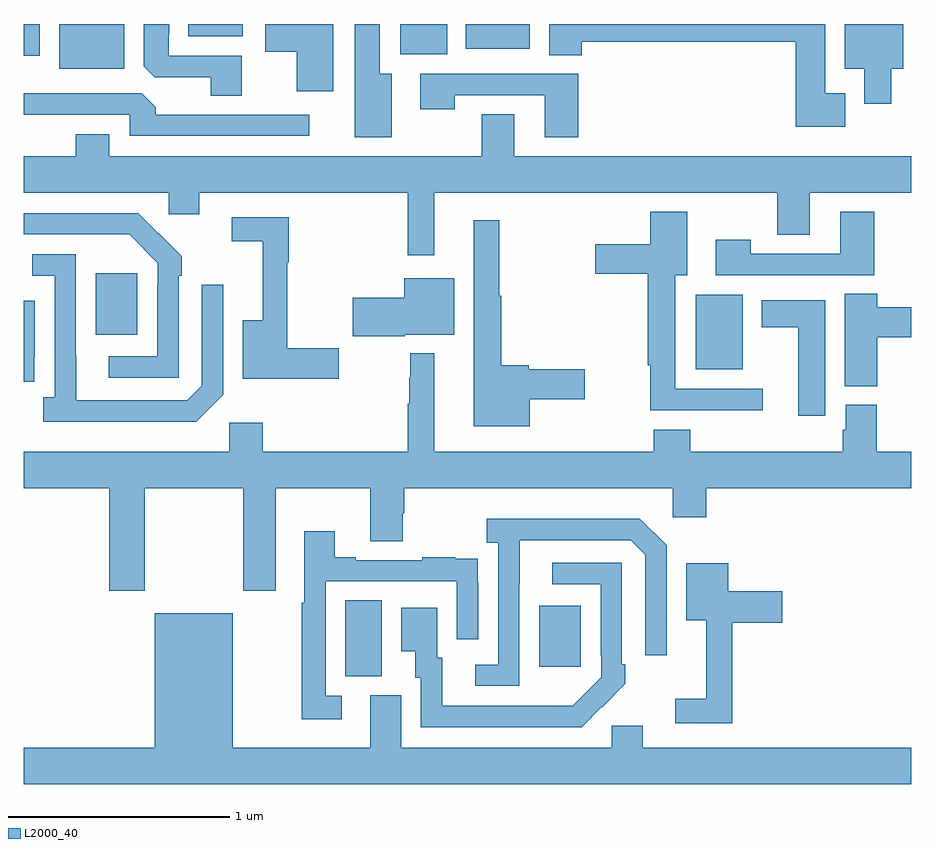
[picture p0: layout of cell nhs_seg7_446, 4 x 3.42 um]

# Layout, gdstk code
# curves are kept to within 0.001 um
import gdstk
lib = gdstk.Library(unit=1e-6, precision=1e-09)
def R(c, l, rs):  # rectangles x0, y0, x1, y1
    for r in rs: c.add(gdstk.rectangle(r[:2], r[2:], *l))
def P(c, l, *ps):  # polygons
    for p in ps: c.add(gdstk.Polygon(p, *l))
L2000_40 = (2000, 40)

nhs_seg7_446 = lib.new_cell('nhs_seg7_446')
R(nhs_seg7_446, L2000_40, [(146.45,1041.061,146.614,1041.404), (147.323,1041.105,147.511,1041.379), (148.028,1042.445,148.24,1042.78), (145.325,1042.601,145.513,1042.876), (145.16,1043.798,145.453,1044), (145,1043.856,145.072,1044), (146.696,1043.864,146.908,1044), (146.993,1043.888,147.28,1044), (145.742,1043.945,145.987,1044)])
P(nhs_seg7_446, L2000_40, [(148.702,1043.689),(148.612,1043.689),(148.612,1044),(147.368,1044),(147.368,1043.86),(147.515,1043.86),(147.515,1043.92),(148.478,1043.92),(148.478,1043.537),(148.702,1043.537)],
  [(146.659,1043.776),(146.605,1043.776),(146.605,1044),(146.492,1044),(146.492,1043.49),(146.659,1043.49)],
  [(146.395,1044),(146.088,1044),(146.088,1043.876),(146.231,1043.876),(146.231,1043.697),(146.395,1043.697)],
  [(145.984,1043.856),(145.653,1043.856),(145.653,1043.953),(145.657,1043.953),(145.657,1044),(145.541,1044),(145.541,1043.809),(145.59,1043.76),(145.844,1043.76),(145.844,1043.677),(145.984,1043.677)],
  [(148.909,1043.798),(148.963,1043.798),(148.963,1044),(148.7,1044),(148.7,1043.798),(148.787,1043.798),(148.787,1043.64),(148.909,1043.64)],
  [(147.5,1043.775),(146.787,1043.775),(146.787,1043.616),(146.943,1043.616),(146.943,1043.679),(147.347,1043.679),(147.347,1043.49),(147.5,1043.49)],
  [(146.287,1043.592),(145.595,1043.592),(145.595,1043.626),(145.533,1043.688),(145,1043.688),(145,1043.592),(145.479,1043.592),(145.479,1043.496),(146.287,1043.496)],
  [(146.851,1043.24),(148.396,1043.24),(148.396,1043.05),(148.543,1043.05),(148.543,1043.24),(149,1043.24),(149,1043.404),(147.211,1043.404),(147.211,1043.594),(147.064,1043.594),(147.064,1043.404),(145.387,1043.404),(145.387,1043.503),(145.235,1043.503),(145.235,1043.404),(145,1043.404),(145,1043.24),(145.653,1043.24),(145.653,1043.142),(145.792,1043.142),(145.792,1043.24),(146.73,1043.24),(146.73,1042.959),(146.851,1042.959)],
  [(148.832,1043.155),(148.679,1043.155),(148.679,1042.965),(148.275,1042.965),(148.275,1043.029),(148.119,1043.029),(148.119,1042.869),(148.832,1042.869)],
  [(148.33,1042.356),(147.937,1042.356),(147.937,1042.868),(147.991,1042.868),(147.991,1043.155),(147.824,1043.155),(147.824,1043.008),(147.576,1043.008),(147.576,1042.874),(147.812,1042.874),(147.812,1042.463),(147.824,1042.463),(147.824,1042.259),(148.33,1042.259)],
  [(145.698,1042.865),(145.713,1042.865),(145.713,1042.953),(145.516,1043.148),(145,1043.148),(145,1043.052),(145.477,1043.052),(145.605,1042.923),(145.605,1042.823),(145.602,1042.823),(145.602,1042.503),(145.383,1042.503),(145.383,1042.407),(145.698,1042.407)],
  [(146.419,1042.539),(146.188,1042.539),(146.188,1042.927),(146.195,1042.927),(146.195,1043.13),(145.938,1043.13),(145.938,1043.022),(146.078,1043.022),(146.078,1042.666),(145.988,1042.666),(145.988,1042.402),(146.419,1042.402)],
  [(147.28,1042.31),(147.529,1042.31),(147.529,1042.445),(147.276,1042.445),(147.276,1042.463),(147.151,1042.463),(147.151,1042.775),(147.143,1042.775),(147.143,1043.116),(147.029,1043.116),(147.029,1042.187),(147.28,1042.187)],
  [(145.899,1042.329),(145.899,1042.825),(145.803,1042.825),(145.803,1042.371),(145.737,1042.305),(145.237,1042.305),(145.236,1042.962),(145.038,1042.962),(145.038,1042.866),(145.14,1042.866),(145.14,1042.318),(145.089,1042.318),(145.089,1042.208),(145.778,1042.208)],
  [(146.718,1042.601),(146.941,1042.601),(146.941,1042.855),(146.714,1042.855),(146.714,1042.767),(146.484,1042.767),(146.484,1042.594),(146.718,1042.594)],
  [(148.847,1042.588),(149,1042.588),(149,1042.724),(148.847,1042.724),(148.847,1042.784),(148.7,1042.784),(148.7,1042.369),(148.847,1042.369)],
  [(148.612,1042.756),(148.325,1042.756),(148.325,1042.634),(148.49,1042.634),(148.49,1042.236),(148.612,1042.236)],
  [(145.049,1042.498),(145.05,1042.498),(145.05,1042.753),(145,1042.753),(145,1042.389),(145.049,1042.389)],
  [(145.545,1041.908),(145.99,1041.908),(145.99,1041.447),(146.137,1041.447),(146.137,1041.908),(146.561,1041.908),(146.561,1041.67),(146.709,1041.67),(146.709,1041.795),(146.714,1041.795),(146.714,1041.908),(147.924,1041.908),(147.924,1041.777),(148.076,1041.777),(148.076,1041.908),(149,1041.908),(149,1042.072),(148.844,1042.072),(148.844,1042.284),(148.703,1042.284),(148.703,1042.173),(148.691,1042.173),(148.691,1042.072),(148.004,1042.072),(148.004,1042.171),(147.839,1042.171),(147.839,1042.072),(146.851,1042.072),(146.851,1042.516),(146.741,1042.516),(146.741,1042.409),(146.737,1042.409),(146.737,1042.289),(146.73,1042.289),(146.73,1042.072),(146.078,1042.072),(146.078,1042.204),(145.926,1042.204),(145.926,1042.072),(145,1042.072),(145,1041.908),(145.385,1041.908),(145.385,1041.447),(145.545,1041.447)],
  [(147.234,1041.475),(147.235,1041.675),(147.735,1041.675),(147.801,1041.609),(147.801,1041.156),(147.897,1041.156),(147.897,1041.651),(147.776,1041.772),(147.087,1041.772),(147.087,1041.662),(147.138,1041.662),(147.138,1041.114),(147.036,1041.114),(147.036,1041.018),(147.234,1041.018)],
  [(146.434,1040.973),(146.361,1040.973),(146.361,1041.489),(146.952,1041.489),(146.952,1041.228),(147.048,1041.228),(147.048,1041.482),(147.047,1041.482),(147.047,1041.591),(146.945,1041.591),(146.945,1041.598),(146.797,1041.598),(146.797,1041.585),(146.497,1041.585),(146.497,1041.598),(146.401,1041.598),(146.401,1041.715),(146.265,1041.715),(146.265,1041.392),(146.253,1041.392),(146.253,1040.868),(146.434,1040.868)],
  [(147.605,1040.923),(147.606,1040.922),(147.711,1041.027),(147.711,1041.115),(147.696,1041.115),(147.696,1041.573),(147.381,1041.573),(147.381,1041.477),(147.6,1041.477),(147.6,1041.157),(147.603,1041.157),(147.603,1041.057),(147.475,1040.929),(146.887,1040.928),(146.887,1041.144),(146.863,1041.144),(146.863,1041.37),(146.702,1041.37),(146.702,1041.173),(146.765,1041.173),(146.765,1041.054),(146.79,1041.054),(146.79,1040.832),(147.514,1040.832)],
  [(148.193,1041.302),(148.417,1041.302),(148.417,1041.444),(148.174,1041.444),(148.174,1041.571),(147.986,1041.571),(147.986,1041.314),(148.076,1041.314),(148.076,1040.959),(147.936,1040.959),(147.936,1040.85),(148.193,1040.85)],
  [(149,1040.74),(147.79,1040.74),(147.79,1040.838),(147.651,1040.838),(147.651,1040.74),(146.701,1040.74),(146.701,1040.976),(146.561,1040.976),(146.561,1040.74),(145.942,1040.74),(145.942,1041.346),(145.592,1041.346),(145.592,1040.74),(145,1040.74),(145,1040.576),(149,1040.576)])

lib.write_gds('nhs_seg7_446.gds')
